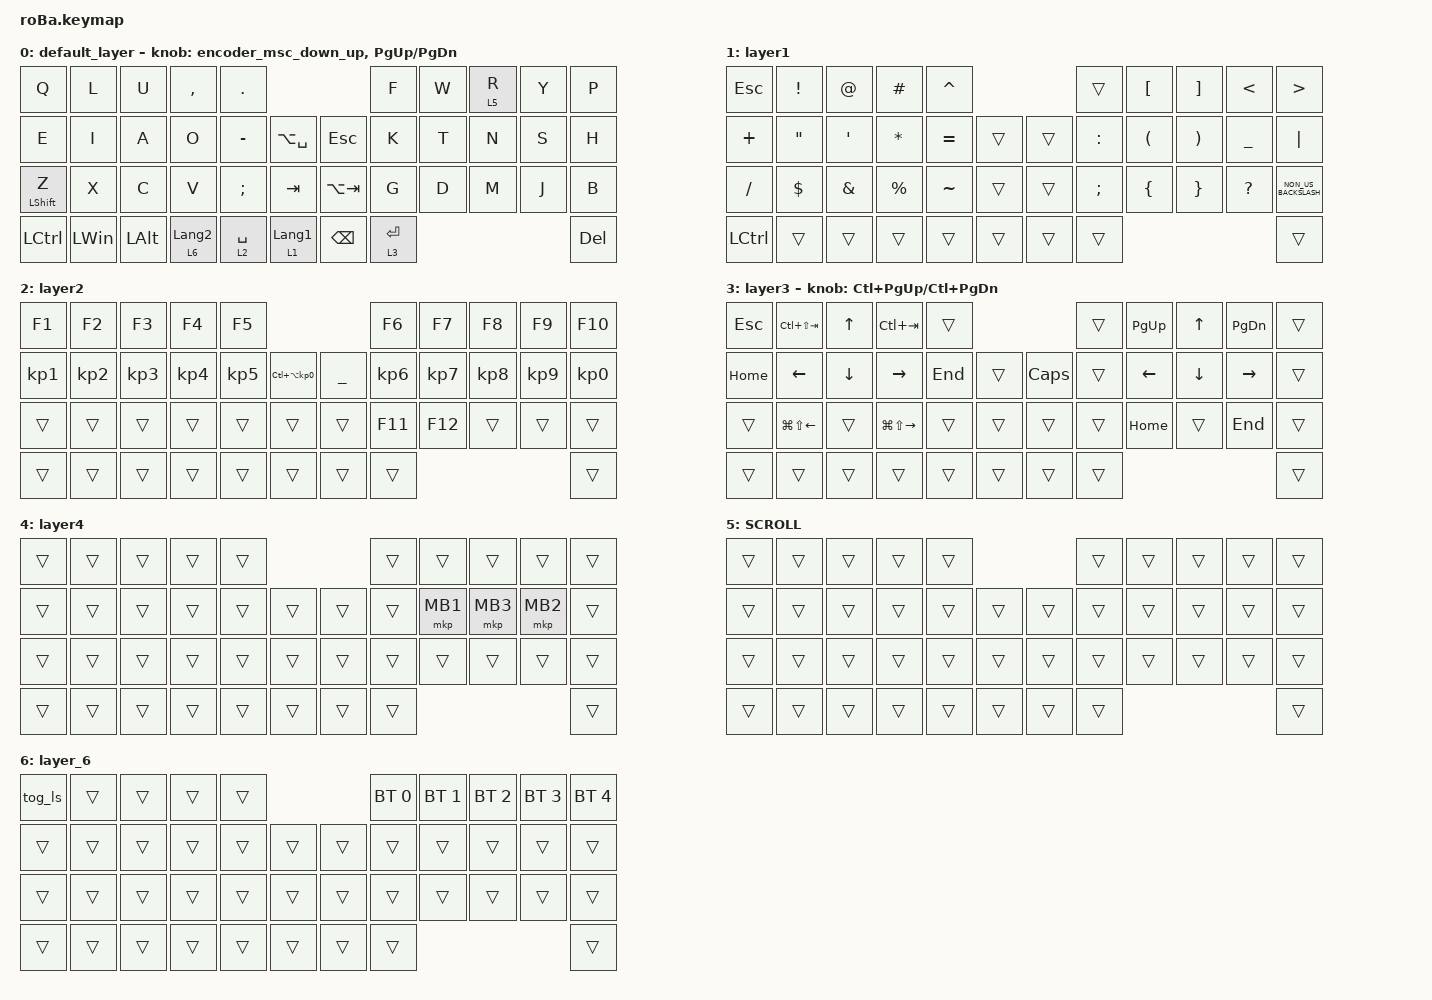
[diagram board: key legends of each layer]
#include <behaviors.dtsi>
#include <dt-bindings/zmk/bt.h>
#include <dt-bindings/zmk/keys.h>
#include <dt-bindings/zmk/pointing.h>
#include <layout_shift_kp_override.dtsi>

#define ZMK_POINTING_DEFAULT_SCRL_VAL 80

&mt {
    flavor = "balanced";
    quick-tap-ms = <0>;
};

&trackball {
    automouse-layer = <4>;
    scroll-layers = <5>;

    // arrows {
    //     layers = <3>;
    //     bindings =
    //         <&kp RIGHT_ARROW>,
    //         <&kp LEFT_ARROW>,
    //         <&kp UP_ARROW>,
    //         <&kp DOWN_ARROW>;
    //     tick = <10>;
    //     wait-ms = <5>;
    //     tap-ms = <5>;
    // };
};

/ {
    combos {
        compatible = "zmk,combos";

        tab {
            bindings = <&kp TAB>;
            key-positions = <11 12>;
        };

        shift_tab {
            bindings = <&kp LS(TAB)>;
            key-positions = <12 13>;
        };

        muhennkann {
            bindings = <&to_layer_0 INT_MUHENKAN>;
            key-positions = <11 10>;
        };

        double_quotation {
            bindings = <&kp DOUBLE_QUOTES>;
            key-positions = <20 21>;
        };

        eq {
            bindings = <&kp EQUAL>;
            key-positions = <24 25>;
        };
    };

    macros {
        to_layer_0: to_layer_0 {
            compatible = "zmk,behavior-macro-one-param";
            #binding-cells = <1>;
            bindings = <&to 0 &macro_param_1to1 &kp MACRO_PLACEHOLDER>;
            label = "TO_LAYER_0";
        };
    };

    behaviors {
        lt_to_layer_0: lt_to_layer_0 {
            compatible = "zmk,behavior-hold-tap";
            label = "LAYER_TAP_TO_0";
            bindings = <&mo>, <&to_layer_0>;

            #binding-cells = <2>;
            tapping-term-ms = <200>;
        };

        encoder_msc_down_up: encoder_msc_down_up {
            compatible = "zmk,behavior-sensor-rotate";
            label = "ENCODER_MSC_DOWN_UP";
            #sensor-binding-cells = <0>;
            bindings = <&msc SCRL_DOWN>, <&msc SCRL_UP>;

            tap-ms = <20>;
        };
    };

    keymap {
        compatible = "zmk,keymap";

        default_layer {
            bindings = <
&kp Q             &kp L         &kp U         &kp COMMA         &kp PERIOD                                          &kp F        &kp W  &lt 5 R  &kp Y  &kp P
&kp E             &kp I         &kp A         &kp O             &kp MINUS      &kp LA(SPACE)         &kp ESCAPE     &kp K        &kp T  &kp N    &kp S  &kp H
&mt LEFT_SHIFT Z  &kp X         &kp C         &kp V             &kp SEMICOLON  &kp TAB               &kp LA(TAB)    &kp G        &kp D  &kp M    &kp J  &kp B
&kp LCTRL         &kp LEFT_WIN  &kp LEFT_ALT  &lt 6 LANGUAGE_2  &lt 2 SPACE    &lt 1 LANGUAGE_1      &kp BACKSPACE  &lt 3 ENTER                         &kp DELETE
            >;

            sensor-bindings =
                <&encoder_msc_down_up>,
                <&inc_dec_kp PG_UP PAGE_DOWN>;
        };

        layer1 {
            bindings = <
&kp ESCAPE  &kp EXCLAMATION    &kp AT_SIGN    &kp HASH      &kp CARET                      &trans         &kp LEFT_BRACKET      &kp RIGHT_BRACKET      &kp LESS_THAN   &kp GREATER_THAN
&kp PLUS    &kp DOUBLE_QUOTES  &kp SQT        &kp ASTERISK  &kp EQUAL  &trans      &trans  &kp COLON      &kp LEFT_PARENTHESIS  &kp RIGHT_PARENTHESIS  &kp UNDERSCORE  &kp PIPE
&kp SLASH   &kp DOLLAR         &kp AMPERSAND  &kp PERCENT   &kp TILDE  &trans      &trans  &kp SEMICOLON  &kp LEFT_BRACE        &kp RIGHT_BRACE        &kp QUESTION    &kp NON_US_BACKSLASH
&kp LCTRL   &trans             &trans         &trans        &trans     &trans      &trans  &trans                                                                      &trans
            >;
        };

        layer2 {
            bindings = <
&kp F1           &kp F2           &kp F3           &kp F4           &kp F5                                                        &kp F6           &kp F7           &kp F8           &kp F9           &kp F10
&kp KP_NUMBER_1  &kp KP_NUMBER_2  &kp KP_NUMBER_3  &kp KP_NUMBER_4  &kp KP_NUMBER_5  &kp LC(LA(KP_NUMBER_0))      &kp UNDERSCORE  &kp KP_NUMBER_6  &kp KP_NUMBER_7  &kp KP_NUMBER_8  &kp KP_NUMBER_9  &kp KP_NUMBER_0
&trans           &trans           &trans           &trans           &trans           &trans                       &trans          &kp F11          &kp F12          &trans           &trans           &trans
&trans           &trans           &trans           &trans           &trans           &trans                       &trans          &trans                                                              &trans
            >;
        };

        layer3 {
            bindings = <
&kp ESCAPE  &kp LC(LS(TAB))         &kp UP_ARROW    &kp LC(TAB)              &trans                             &trans  &kp PG_UP       &kp UP_ARROW    &kp PAGE_DOWN    &trans
&kp HOME    &kp LEFT_ARROW          &kp DOWN_ARROW  &kp RIGHT_ARROW          &kp END  &trans      &kp CAPSLOCK  &trans  &kp LEFT_ARROW  &kp DOWN_ARROW  &kp RIGHT_ARROW  &trans
&trans      &kp LG(LS(LEFT_ARROW))  &trans          &kp LG(LS(RIGHT_ARROW))  &trans   &trans      &trans        &trans  &kp HOME        &trans          &kp END          &trans
&trans      &trans                  &trans          &trans                   &trans   &trans      &trans        &trans                                                   &trans
            >;

            sensor-bindings = <&inc_dec_kp LC(PAGE_UP) LC(PAGE_DOWN)>;
        };

        layer4 {
            bindings = <
&trans  &trans  &trans  &trans  &trans                      &trans  &trans    &trans    &trans    &trans
&trans  &trans  &trans  &trans  &trans  &trans      &trans  &trans  &mkp MB1  &mkp MB3  &mkp MB2  &trans
&trans  &trans  &trans  &trans  &trans  &trans      &trans  &trans  &trans    &trans    &trans    &trans
&trans  &trans  &trans  &trans  &trans  &trans      &trans  &trans                                &trans
            >;
        };

        SCROLL {
            bindings = <
&trans  &trans  &trans  &trans  &trans                      &trans  &trans  &trans  &trans  &trans
&trans  &trans  &trans  &trans  &trans  &trans      &trans  &trans  &trans  &trans  &trans  &trans
&trans  &trans  &trans  &trans  &trans  &trans      &trans  &trans  &trans  &trans  &trans  &trans
&trans  &trans  &trans  &trans  &trans  &trans      &trans  &trans                          &trans
            >;
        };

        layer_6 {
            bindings = <
&tog_ls  &trans  &trans  &trans  &trans                     &bt BT_SEL 0  &bt BT_SEL 1  &bt BT_SEL 2  &bt BT_SEL 3  &bt BT_SEL 4
&trans  &trans  &trans  &trans  &trans  &trans      &trans  &trans        &trans        &trans        &trans        &trans
&trans  &trans  &trans  &trans  &trans  &trans      &trans  &trans        &trans        &trans        &trans        &trans
&trans  &trans  &trans  &trans  &trans  &trans      &trans  &trans                                                  &trans
            >;
        };
    };
};
